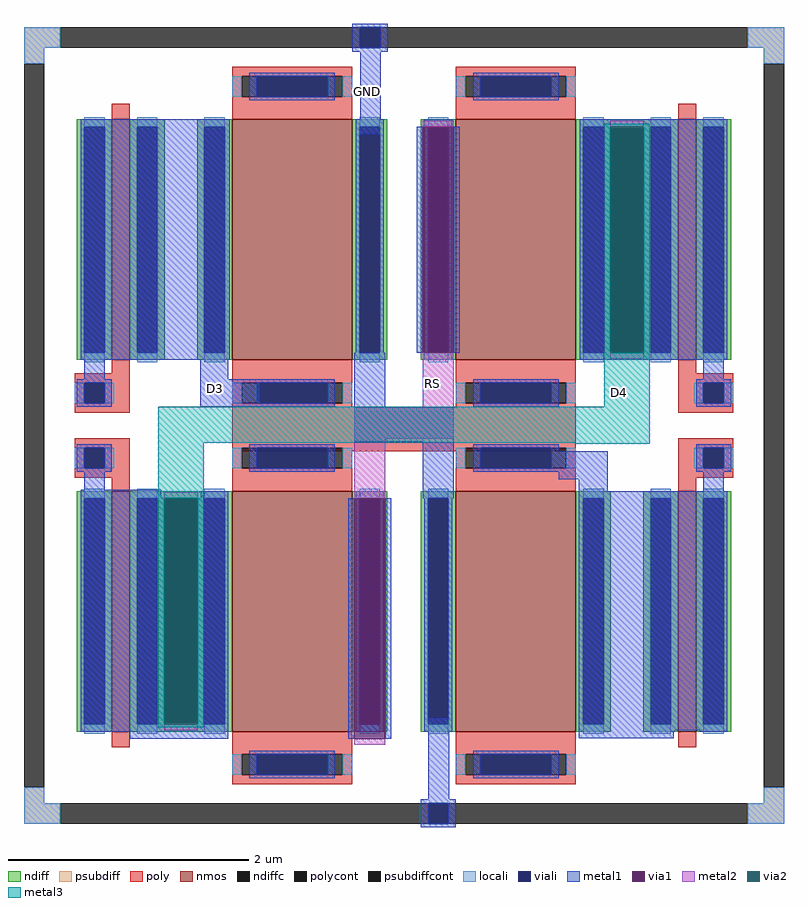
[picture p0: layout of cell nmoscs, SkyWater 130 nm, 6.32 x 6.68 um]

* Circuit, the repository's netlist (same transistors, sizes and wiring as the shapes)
** sch_path: /home/zulfas/operationalamplifier/nmoscs/nmoscs.sch
.subckt nmoscs RS D4 D3 GND
*.PININFO RS:B D4:B D3:B GND:B
XM3 D3 D3 GND GND sky130_fd_pr__nfet_01v8 L=1u W=2u nf=1 m=2
XM4 D4 D3 RS GND sky130_fd_pr__nfet_01v8 L=1u W=2u nf=1 m=2
XM1 D3 D3 D3 GND sky130_fd_pr__nfet_01v8 L=0.15u W=2u nf=1 m=2
XM2 D4 D4 D4 GND sky130_fd_pr__nfet_01v8 L=0.15u W=2u nf=1 m=2
.ends
.end

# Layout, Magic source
magic
tech sky130A
magscale 1 2
<< ndiff >>
rect 688 706 742 1106
rect -54 88 0 488
<< psubdiff >>
rect -288 1225 -228 1259
rect 916 1225 976 1259
rect -288 1199 -254 1225
rect 942 1199 976 1225
rect -288 -31 -254 -5
rect 942 -31 976 -5
rect -288 -65 -228 -31
rect 916 -65 976 -31
<< psubdiffcont >>
rect -228 1225 916 1259
rect -288 -5 -254 1199
rect 942 -5 976 1199
rect -228 -65 916 -31
<< poly >>
rect -142 684 -112 694
rect -204 668 -112 684
rect -204 634 -188 668
rect -154 634 -112 668
rect -204 618 -112 634
rect 800 684 830 706
rect 800 668 892 684
rect 800 634 842 668
rect 876 634 892 668
rect -204 560 -112 576
rect -204 526 -188 560
rect -154 526 -112 560
rect 58 554 630 628
rect 800 618 892 634
rect 800 560 892 576
rect -204 510 -112 526
rect -142 488 -112 510
rect 800 526 842 560
rect 876 526 892 560
rect 800 510 892 526
rect 800 502 830 510
<< polycont >>
rect -188 634 -154 668
rect 842 634 876 668
rect -188 526 -154 560
rect 842 526 876 560
<< locali >>
rect -288 1225 -228 1259
rect 916 1225 976 1259
rect -288 1199 -254 1225
rect 942 1199 976 1225
rect -204 634 -188 668
rect -154 634 -138 668
rect 826 634 842 668
rect 876 634 892 668
rect -204 526 -188 560
rect -154 526 -138 560
rect 826 526 842 560
rect 876 526 892 560
rect -288 -31 -254 -5
rect 942 -31 976 -5
rect -288 -65 -228 -31
rect 916 -65 976 -31
<< viali >>
rect 270 1225 305 1259
rect -188 634 -154 668
rect 842 634 876 668
rect -188 526 -154 560
rect 842 526 876 560
rect 384 -65 418 -31
<< metal1 >>
rect 258 1259 317 1265
rect 258 1225 270 1259
rect 305 1225 317 1259
rect 258 1219 317 1225
rect -194 706 54 1106
rect 271 1081 305 1219
rect 636 1094 882 1106
rect 365 718 375 1094
rect 427 718 437 1094
rect 636 718 688 1094
rect 742 718 882 1094
rect -188 674 -154 706
rect 5 674 52 706
rect -200 668 -142 674
rect -200 634 -188 668
rect -154 634 -142 668
rect -200 628 -142 634
rect 5 628 104 674
rect 261 627 313 718
rect 636 706 882 718
rect 842 674 876 706
rect 830 668 888 674
rect 830 634 842 668
rect 876 634 888 668
rect 830 628 888 634
rect 261 570 427 627
rect -200 560 -142 566
rect -200 526 -188 560
rect -154 526 -142 560
rect -200 520 -142 526
rect -188 490 -154 520
rect -194 476 -60 490
rect 375 476 427 570
rect 830 560 888 566
rect 601 508 683 554
rect 830 526 842 560
rect 876 526 888 560
rect 830 520 888 526
rect 635 488 683 508
rect 842 488 876 520
rect -194 100 -54 476
rect 0 100 52 476
rect -194 88 52 100
rect -112 76 52 88
rect 251 76 261 476
rect 313 76 323 476
rect 384 -25 419 110
rect 635 90 882 488
rect 635 77 793 90
rect 372 -31 430 -25
rect 372 -65 384 -31
rect 418 -65 430 -31
rect 372 -71 430 -65
<< via1 >>
rect 375 718 427 1094
rect 688 718 742 1094
rect -54 100 0 476
rect 261 76 313 476
<< metal2 >>
rect 375 1094 427 1104
rect 375 627 427 718
rect 687 1094 743 1104
rect 687 708 743 718
rect 261 575 427 627
rect -55 476 1 486
rect -55 90 1 100
rect 261 476 313 575
rect 261 66 313 76
<< via2 >>
rect 687 718 688 1094
rect 688 718 742 1094
rect 742 718 743 1094
rect -55 100 -54 476
rect -54 100 0 476
rect 0 100 1 476
<< metal3 >>
rect 677 1094 753 1099
rect 677 718 687 1094
rect 743 718 753 1094
rect 677 628 753 718
rect -65 568 753 628
rect -65 476 11 568
rect 628 567 753 568
rect -65 100 -55 476
rect 1 100 11 476
rect -65 95 11 100
use sky130_fd_pr__nfet_01v8_6C7GGL  sky130_fd_pr__nfet_01v8_6C7GGL_0
transform 1 0 -127 0 1 906
box -73 -226 73 226
use sky130_fd_pr__nfet_01v8_6C7GGL  sky130_fd_pr__nfet_01v8_6C7GGL_1
transform 1 0 815 0 1 288
box -73 -226 73 226
use sky130_fd_pr__nfet_01v8_6C7GGL  sky130_fd_pr__nfet_01v8_6C7GGL_2
transform 1 0 815 0 1 906
box -73 -226 73 226
use sky130_fd_pr__nfet_01v8_6C7GGL  sky130_fd_pr__nfet_01v8_6C7GGL_3
transform 1 0 -127 0 1 288
box -73 -226 73 226
use sky130_fd_pr__nfet_01v8_46AA6M  sky130_fd_pr__nfet_01v8_46AA6M_0
transform 1 0 344 0 1 597
box -344 -597 344 597
<< labels >>
flabel metal1 282 1151 284 1154 0 FreeSans 640 0 0 0 GND
port 0 nsew
flabel metal1 30 657 32 660 0 FreeSans 640 0 0 0 D3
port 1 nsew
flabel metal2 391 666 393 669 0 FreeSans 640 0 0 0 RS
port 2 nsew
flabel metal3 701 650 703 653 0 FreeSans 640 0 0 0 D4
port 3 nsew
<< end >>

# cell sky130_fd_pr__nfet_01v8_6C7GGL: kit device sky130_fd_pr__nfet_01v8, w 2 l 0.150 m 1 nf 1 diffcov 100 polycov 100 guard 0 glc 1 grc 1 gtc 1 gbc 1 tbcov 100 rlcov 100 topc 0 botc 0 poverlap 0 doverlap 0 lmin 0.15 wmin 0.42 compatible {sky130_fd_pr__nfet_01v8 sky130_fd_pr__nfet_01v8_lvt sky130_fd_bs_flash__special_sonosfet_star sky130_fd_pr__nfet_g5v0d10v5 sky130_fd_pr__nfet_05v0_nvt sky130_fd_pr__nfet_03v3_nvt} full_metal 1 viasrc 100 viadrn 100 viagate 100 viagb 0 viagr 0 viagl 0 viagt 0

# cell sky130_fd_pr__nfet_01v8_46AA6M: kit device sky130_fd_pr__nfet_01v8, w 2 l 1 m 2 nf 2 diffcov 100 polycov 100 guard 0 glc 1 grc 1 gtc 1 gbc 1 tbcov 100 rlcov 100 topc 1 botc 1 poverlap 0 doverlap 0 lmin 0.15 wmin 0.42 compatible {sky130_fd_pr__nfet_01v8 sky130_fd_pr__nfet_01v8_lvt sky130_fd_bs_flash__special_sonosfet_star sky130_fd_pr__nfet_g5v0d10v5 sky130_fd_pr__nfet_05v0_nvt sky130_fd_pr__nfet_03v3_nvt} full_metal 1 viasrc 100 viadrn 100 viagate 70 viagb 0 viagr 0 viagl 0 viagt 0
